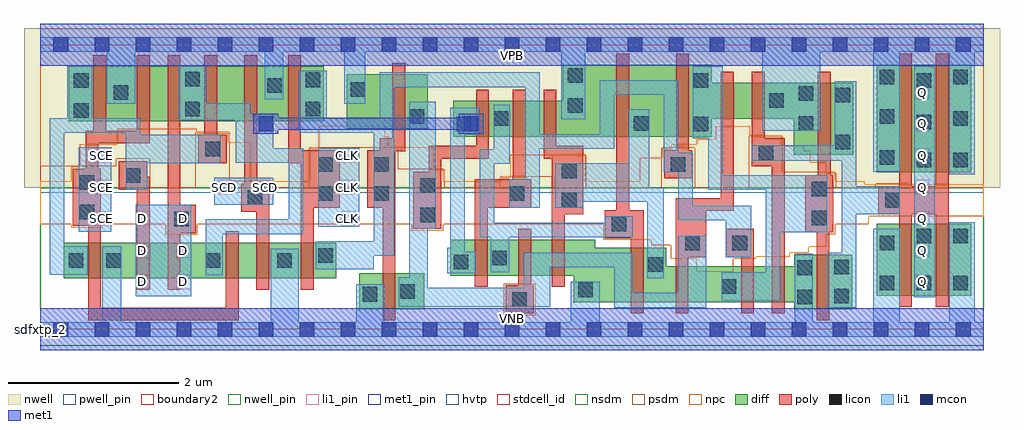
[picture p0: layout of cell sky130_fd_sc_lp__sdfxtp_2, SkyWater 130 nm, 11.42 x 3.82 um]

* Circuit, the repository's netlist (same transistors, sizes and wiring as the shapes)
* Copyright 2020 The SkyWater PDK Authors
*
* Licensed under the Apache License, Version 2.0 (the "License");
* you may not use this file except in compliance with the License.
* You may obtain a copy of the License at
*
*     https://www.apache.org/licenses/LICENSE-2.0
*
* Unless required by applicable law or agreed to in writing, software
* distributed under the License is distributed on an "AS IS" BASIS,
* WITHOUT WARRANTIES OR CONDITIONS OF ANY KIND, either express or implied.
* See the License for the specific language governing permissions and
* limitations under the License.
*
* SPDX-License-Identifier: Apache-2.0

.SUBCKT sky130_fd_sc_lp__sdfxtp_2 CLK D SCD SCE VGND VNB VPB VPWR Q
*.PININFO CLK:I D:I SCD:I SCE:I VGND:I VNB:I VPB:I VPWR:I Q:O
MI652 M1 clkpos S0 VNB sky130_fd_pr__nfet_01v8 m=1 w=0.42U l=0.15U mult=1 sa=0.265
+ sb=0.265 sd=0.28 area=0.063 perim=1.14
MI649 S1 S0 VGND VNB sky130_fd_pr__nfet_01v8 m=1 w=0.64U l=0.15U mult=1 sa=0.265
+ sb=0.265 sd=0.28 area=0.063 perim=1.14
MI634 M1 M0 VGND VNB sky130_fd_pr__nfet_01v8 m=1 w=0.64U l=0.15U mult=1 sa=0.265
+ sb=0.265 sd=0.28 area=0.063 perim=1.14
MI636 clkpos clkneg VGND VNB sky130_fd_pr__nfet_01v8 m=1 w=0.42U l=0.15U mult=1
+ sa=0.265 sb=0.265 sd=0.28 area=0.063 perim=1.14
MI639 sceb SCE VGND VNB sky130_fd_pr__nfet_01v8 m=1 w=0.42U l=0.15U mult=1 sa=0.265
+ sb=0.265 sd=0.28 area=0.063 perim=1.14
MI657 M0 clkpos net155 VNB sky130_fd_pr__nfet_01v8 m=1 w=0.42U l=0.15U mult=1 sa=0.265
+ sb=0.265 sd=0.28 area=0.063 perim=1.14
MI656 net155 M1 VGND VNB sky130_fd_pr__nfet_01v8 m=1 w=0.42U l=0.15U mult=1 sa=0.265
+ sb=0.265 sd=0.28 area=0.063 perim=1.14
MI641 net151 S1 VGND VNB sky130_fd_pr__nfet_01v8 m=1 w=0.42U l=0.15U mult=1 sa=0.265
+ sb=0.265 sd=0.28 area=0.063 perim=1.14
MI646 Q S1 VGND VNB sky130_fd_pr__nfet_01v8 m=2 w=0.84U l=0.15U mult=1 sa=0.265
+ sb=0.265 sd=0.28 area=0.063 perim=1.14
MI648 db clkneg M0 VNB sky130_fd_pr__nfet_01v8 m=1 w=0.42U l=0.15U mult=1 sa=0.265
+ sb=0.265 sd=0.28 area=0.063 perim=1.14
MI635 clkneg CLK VGND VNB sky130_fd_pr__nfet_01v8 m=1 w=0.42U l=0.15U mult=1 sa=0.265
+ sb=0.265 sd=0.28 area=0.063 perim=1.14
MI642 S0 clkneg net151 VNB sky130_fd_pr__nfet_01v8 m=1 w=0.42U l=0.15U mult=1 sa=0.265
+ sb=0.265 sd=0.28 area=0.063 perim=1.14
MI98 db D n0 VNB sky130_fd_pr__nfet_01v8 m=1 w=0.42U l=0.15U mult=1 sa=0.265 sb=0.265
+ sd=0.28 area=0.525 perim=3.1
MI103 n1 SCD VGND VNB sky130_fd_pr__nfet_01v8 m=1 w=0.42U l=0.15U mult=1 sa=0.265
+ sb=0.265 sd=0.28 area=0.525 perim=3.1
MI120 db SCE n1 VNB sky130_fd_pr__nfet_01v8 m=1 w=0.42U l=0.15U mult=1 sa=0.265
+ sb=0.265 sd=0.28 area=0.525 perim=3.1
MI104 n0 sceb VGND VNB sky130_fd_pr__nfet_01v8 m=1 w=0.42U l=0.15U mult=1 sa=0.265
+ sb=0.265 sd=0.28 area=0.525 perim=3.1
MI643 net206 S1 VPWR VPB sky130_fd_pr__pfet_01v8_hvt m=1 w=0.42U l=0.15U mult=1
+ sa=0.265 sb=0.265 sd=0.28 area=0.063 perim=1.14
MI640 sceb SCE VPWR VPB sky130_fd_pr__pfet_01v8_hvt m=1 w=0.64U l=0.15U mult=1
+ sa=0.265 sb=0.265 sd=0.28 area=0.063 perim=1.14
MI658 net243 M1 VPWR VPB sky130_fd_pr__pfet_01v8_hvt m=1 w=0.42U l=0.15U mult=1
+ sa=0.265 sb=0.265 sd=0.28 area=0.063 perim=1.14
MI645 Q S1 VPWR VPB sky130_fd_pr__pfet_01v8_hvt m=2 w=1.26U l=0.15U mult=1 sa=0.265
+ sb=0.265 sd=0.28 area=0.063 perim=1.14
MI651 db clkpos M0 VPB sky130_fd_pr__pfet_01v8_hvt m=1 w=0.42U l=0.15U mult=1 sa=0.265
+ sb=0.265 sd=0.28 area=0.063 perim=1.14
MI653 M1 clkneg S0 VPB sky130_fd_pr__pfet_01v8_hvt m=1 w=0.84U l=0.15U mult=1 sa=0.265
+ sb=0.265 sd=0.28 area=0.063 perim=1.14
MI659 M0 clkneg net243 VPB sky130_fd_pr__pfet_01v8_hvt m=1 w=0.42U l=0.15U mult=1
+ sa=0.265 sb=0.265 sd=0.28 area=0.063 perim=1.14
MI638 clkneg CLK VPWR VPB sky130_fd_pr__pfet_01v8_hvt m=1 w=0.64U l=0.15U mult=1
+ sa=0.265 sb=0.265 sd=0.28 area=0.063 perim=1.14
MI637 clkpos clkneg VPWR VPB sky130_fd_pr__pfet_01v8_hvt m=1 w=0.64U l=0.15U mult=1
+ sa=0.265 sb=0.265 sd=0.28 area=0.063 perim=1.14
MI650 S1 S0 VPWR VPB sky130_fd_pr__pfet_01v8_hvt m=1 w=0.84U l=0.15U mult=1 sa=0.265
+ sb=0.265 sd=0.28 area=0.063 perim=1.14
MI644 S0 clkpos net206 VPB sky130_fd_pr__pfet_01v8_hvt m=1 w=0.42U l=0.15U mult=1
+ sa=0.265 sb=0.265 sd=0.28 area=0.063 perim=1.14
MI664 M1 M0 VPWR VPB sky130_fd_pr__pfet_01v8_hvt m=1 w=0.84U l=0.15U mult=1 sa=0.265
+ sb=0.265 sd=0.28 area=0.063 perim=1.14
MI107 p0 SCE VPWR VPB sky130_fd_pr__pfet_01v8_hvt m=1 w=0.64U l=0.15U mult=1 sa=0.265
+ sb=0.265 sd=0.28 area=0.063 perim=1.14
MI94 db D p0 VPB sky130_fd_pr__pfet_01v8_hvt m=1 w=0.64U l=0.15U mult=1 sa=0.265
+ sb=0.265 sd=0.28 area=0.063 perim=1.14
MI108 p1 SCD VPWR VPB sky130_fd_pr__pfet_01v8_hvt m=1 w=0.64U l=0.15U mult=1 sa=0.265
+ sb=0.265 sd=0.28 area=0.063 perim=1.14
MI101 db sceb p1 VPB sky130_fd_pr__pfet_01v8_hvt m=1 w=0.64U l=0.15U mult=1 sa=0.265
+ sb=0.265 sd=0.28 area=0.063 perim=1.14
.ENDS sky130_fd_sc_lp__sdfxtp_2

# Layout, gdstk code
import gdstk
lib = gdstk.Library(unit=1e-6, precision=1e-09)
def R(c, l, rs):  # rectangles x0, y0, x1, y1
    for r in rs: c.add(gdstk.rectangle(r[:2], r[2:], *l))
def A(c, l, x, y, w, h, nx, ny, dx, dy):  # array of equal rectangles
    R(c, l, [(x+i*dx, y+j*dy, x+i*dx+w, y+j*dy+h) for i in range(nx) for j in range(ny)])
def P(c, l, *ps):  # polygons
    for p in ps: c.add(gdstk.Polygon(p, *l))
nwell_pin = (64, 16)
nwell = (64, 20)
diff = (65, 20)
poly = (66, 20)
licon = (66, 44)
li1_pin = (67, 16)
li1 = (67, 20)
mcon = (67, 44)
met1_pin = (68, 16)
met1 = (68, 20)
hvtp = (78, 44)
stdcell_id = (81, 4)
nsdm = (93, 44)
psdm = (94, 20)
npc = (95, 20)
pwell_pin = (122, 16)
boundary2 = (236, 0)

sky130_fd_sc_lp__sdfxtp_ = lib.new_cell('sky130_fd_sc_lp__sdfxtp_2')
R(sky130_fd_sc_lp__sdfxtp_, nwell_pin, [(0,3.085,11.04,3.33)])
R(sky130_fd_sc_lp__sdfxtp_, nwell, [(-0.19,1.655,11.23,3.52)])
R(sky130_fd_sc_lp__sdfxtp_, diff, [(3.735,0.235,4.495,0.655), (9.785,0.395,10.895,1.235), (0.275,0.595,3.465,1.015), (9.785,1.835,10.895,3.095), (3.585,2.345,4.535,2.985), (0.335,2.435,3.315,3.075)])
P(sky130_fd_sc_lp__sdfxtp_, diff, [(9.5,0.875),(8.82,0.875),(8.82,0.735),(7.325,0.735),(7.325,0.955),(6.495,0.955),(6.495,1.045),(4.8,1.045),(4.8,0.625),(6.245,0.625),(6.245,0.315),(8.82,0.315),(8.82,0.235),(9.5,0.235)],
  [(9.515,2.885),(7.855,2.885),(7.855,3.095),(6.115,3.095),(6.115,2.675),(4.835,2.675),(4.835,2.255),(7.855,2.255),(7.855,2.465),(8.815,2.465),(8.815,2.045),(9.515,2.045)])
P(sky130_fd_sc_lp__sdfxtp_, poly, [(1.28,1.785),(1.25,1.785),(1.25,1.965),(0.92,1.965),(0.92,1.635),(1.13,1.635),(1.13,0.465),(1.28,0.465)],
  [(1.82,1.455),(1.64,1.455),(1.64,3.205),(1.49,3.205),(1.49,0.465),(1.64,0.465),(1.64,1.125),(1.82,1.125)],
  [(2.18,2.275),(2.07,2.275),(2.07,3.205),(1.92,3.205),(1.92,2.275),(1.85,2.275),(1.85,1.945),(2.18,1.945)],
  [(2.32,1.145),(2.17,1.145),(2.17,0.255),(0.71,0.255),(0.71,1.88),(0.68,1.88),(0.68,2.175),(1.28,2.175),(1.28,3.205),(1.13,3.205),(1.13,2.325),(0.77,2.325),(0.77,3.205),(0.62,3.205),(0.62,2.325),(0.53,2.325),(0.53,1.88),(0.38,1.88),(0.38,1.21),(0.56,1.21),(0.56,0.105),(2.32,0.105)],
  [(2.68,1.705),(2.54,1.705),(2.54,3.205),(2.39,3.205),(2.39,1.705),(2.35,1.705),(2.35,1.375),(2.53,1.375),(2.53,0.465),(2.68,0.465)],
  [(3.505,2.095),(3.05,2.095),(3.05,3.205),(2.9,3.205),(2.9,1.945),(3.05,1.945),(3.05,0.465),(3.2,0.465),(3.2,1.425),(3.505,1.425)],
  [(4.27,3.115),(4.12,3.115),(4.12,2.235),(3.975,2.235),(3.975,2.095),(3.825,2.095),(3.825,1.425),(4.005,1.425),(4.005,0.105),(4.155,0.105),(4.155,2.085),(4.27,2.085)],
  [(5.25,2.805),(5.1,2.805),(5.1,2.145),(4.545,2.145),(4.545,1.845),(4.365,1.845),(4.365,1.175),(4.695,1.175),(4.695,1.995),(5.25,1.995)],
  [(5.745,1.755),(5.68,1.755),(5.68,2.805),(5.53,2.805),(5.53,1.755),(5.085,1.755),(5.085,0.495),(5.235,0.495),(5.235,1.425),(5.745,1.425)],
  [(5.775,0.515),(5.745,0.515),(5.745,1.175),(5.595,1.175),(5.595,0.515),(5.445,0.515),(5.445,0.185),(5.775,0.185)],
  [(6.355,2.145),(6.04,2.145),(6.04,2.805),(5.89,2.805),(5.89,1.995),(5.985,1.995),(5.985,0.495),(6.135,0.495),(6.135,1.345),(6.355,1.345)],
  [(7.06,1.395),(6.89,1.395),(6.89,3.225),(6.74,3.225),(6.74,1.395),(6.605,1.395),(6.605,1.065),(6.91,1.065),(6.91,0.185),(7.06,0.185)],
  [(7.63,2.095),(7.59,2.095),(7.59,3.225),(7.44,3.225),(7.44,2.095),(7.3,2.095),(7.3,1.765),(7.63,1.765)],
  [(8.115,3.015),(7.965,3.015),(7.965,1.535),(7.435,1.535),(7.435,0.185),(7.585,0.185),(7.585,0.845),(7.795,0.845),(7.795,1.385),(8.115,1.385)],
  [(8.35,1.175),(8.02,1.175),(8.02,0.845),(8.2,0.845),(8.2,0.185),(8.35,0.185)],
  [(8.71,2.235),(8.475,2.235),(8.475,3.015),(8.325,3.015),(8.325,1.905),(8.56,1.905),(8.56,0.185),(8.71,0.185)],
  [(9.28,1.805),(9.25,1.805),(9.25,3.015),(9.1,3.015),(9.1,1.805),(8.95,1.805),(8.95,1.135),(9.085,1.135),(9.085,0.105),(9.235,0.105),(9.235,1.135),(9.28,1.135)],
  [(10.63,3.225),(10.48,3.225),(10.48,1.675),(10.2,1.675),(10.2,3.225),(10.05,3.225),(10.05,1.675),(9.805,1.675),(9.805,1.345),(10.05,1.345),(10.05,0.265),(10.2,0.265),(10.2,1.345),(10.48,1.345),(10.48,0.265),(10.63,0.265)])
A(sky130_fd_sc_lp__sdfxtp_, licon, 9.825, 0.455, 0.17, 0.17, 3, 1, 0.43, 0)
A(sky130_fd_sc_lp__sdfxtp_, licon, 10.685, 1.895, 0.17, 0.17, 1, 3, 0, 0.485)
R(sky130_fd_sc_lp__sdfxtp_, licon, [(5.525,0.265,5.695,0.435), (8.86,0.295,9.03,0.465), (9.29,0.305,9.46,0.475), (3.775,0.325,3.945,0.495), (4.21,0.36,4.38,0.53), (6.295,0.375,6.465,0.545), (7.975,0.415,8.145,0.585), (8.86,0.635,9.03,0.805), (9.29,0.645,9.46,0.815), (7.115,0.675,7.285,0.845), (4.84,0.705,5.01,0.875), (0.335,0.72,0.505,0.89), (0.775,0.72,0.945,0.89), (1.935,0.72,2.105,0.89), (2.775,0.72,2.945,0.89), (5.29,0.75,5.46,0.92), (3.255,0.78,3.425,0.95), (7.545,0.925,7.715,1.095), (8.1,0.925,8.27,1.095), (9.825,0.925,9.995,1.095), (10.255,1.005,10.425,1.175), (10.685,1.005,10.855,1.175), (6.685,1.145,6.855,1.315), (1.57,1.205,1.74,1.375), (9.03,1.215,9.2,1.385), (4.445,1.255,4.615,1.425), (0.46,1.29,0.63,1.46), (6.105,1.425,6.275,1.595), (9.885,1.425,10.055,1.595), (2.43,1.455,2.6,1.625), (3.255,1.505,3.425,1.675), (3.905,1.505,4.075,1.675), (5.495,1.505,5.665,1.675), (9.03,1.555,9.2,1.725), (4.445,1.595,4.615,1.765), (0.46,1.63,0.63,1.8), (1,1.715,1.17,1.885), (6.105,1.765,6.275,1.935), (3.255,1.845,3.425,2.015), (3.905,1.845,4.075,2.015), (7.38,1.845,7.55,2.015), (10.255,1.895,10.425,2.065), (9.825,1.925,9.995,2.095), (8.405,1.985,8.575,2.155), (1.93,2.025,2.1,2.195), (9.305,2.105,9.475,2.275), (4.875,2.315,5.045,2.485), (7.645,2.315,7.815,2.485), (6.945,2.325,7.115,2.495), (8.875,2.325,9.045,2.495), (10.255,2.34,10.425,2.51), (5.305,2.38,5.475,2.55), (4.325,2.405,4.495,2.575), (9.825,2.405,9.995,2.575), (0.395,2.475,0.565,2.645), (1.695,2.495,1.865,2.665), (3.105,2.495,3.275,2.665), (6.175,2.535,6.345,2.705), (8.53,2.59,8.7,2.76), (9.305,2.655,9.475,2.825), (8.875,2.675,9.045,2.845), (0.86,2.685,1.03,2.855), (3.635,2.72,3.805,2.89), (2.655,2.77,2.825,2.94), (0.395,2.825,0.565,2.995), (7.645,2.825,7.815,2.995), (10.255,2.825,10.425,2.995), (3.105,2.835,3.275,3.005), (1.695,2.845,1.865,3.015), (9.825,2.865,9.995,3.035), (6.175,2.885,6.345,3.055)])
A(sky130_fd_sc_lp__sdfxtp_, li1_pin, 10.235, 0.47, 0.17, 0.17, 1, 7, 0, 0.37)
A(sky130_fd_sc_lp__sdfxtp_, li1_pin, 0.635, 1.21, 0.17, 0.17, 3, 1, 0.48, 0)
A(sky130_fd_sc_lp__sdfxtp_, li1_pin, 3.515, 1.21, 0.17, 0.17, 1, 3, 0, 0.37)
R(sky130_fd_sc_lp__sdfxtp_, li1_pin, [(1.115,0.47,1.285,0.64), (1.595,0.47,1.765,0.64), (1.115,0.84,1.285,1.01), (1.595,0.84,1.765,1.01), (0.635,1.58,0.805,1.75), (2.075,1.58,2.245,1.75), (2.555,1.58,2.725,1.75), (0.635,1.95,0.805,2.12)])
R(sky130_fd_sc_lp__sdfxtp_, li1, [(10.225,0.375,10.465,3.075), (1.115,0.385,1.765,1.455), (0.45,1.14,0.83,2.13), (3.255,1.2,3.735,2.12), (2.035,1.455,2.725,1.775)])
P(sky130_fd_sc_lp__sdfxtp_, li1, [(5.845,2.285),(6.545,2.285),(6.545,2.915),(7.465,2.915),(7.465,2.065),(7.635,2.065),(7.635,1.445),(8.32,1.445),(8.32,0.845),(8.02,0.845),(8.02,1.275),(7.465,1.275),(7.465,1.835),(7.295,1.835),(7.295,2.745),(6.715,2.745),(6.715,2.115),(5.845,2.115),(5.845,1.425),(5.485,1.425),(5.485,1.755),(5.675,1.755),(5.675,2.835),(4.145,2.835),(4.145,0.86),(3.905,0.86),(3.905,0.7),(3.225,0.7),(3.225,1.03),(3.905,1.03),(3.905,2.3),(3.025,2.3),(3.025,3.025),(3.355,3.025),(3.355,2.47),(3.975,2.47),(3.975,3.005),(5.845,3.005)],
  [(1.17,2.275),(2.115,2.275),(2.115,1.945),(1.25,1.945),(1.25,1.635),(1,1.635),(1,2.3),(0.28,2.3),(0.28,0.97),(0.555,0.97),(0.555,0.64),(0.11,0.64),(0.11,2.47),(0.315,2.47),(0.315,3.075),(0.61,3.075),(0.61,2.47),(1.17,2.47)],
  [(6.095,2.455),(6.095,3.245),(3.805,3.245),(3.805,2.64),(3.555,2.64),(3.555,3.245),(2.845,3.245),(2.845,2.69),(2.625,2.69),(2.625,3.245),(1.11,3.245),(1.11,2.64),(0.78,2.64),(0.78,3.245),(0,3.245),(0,3.415),(11.04,3.415),(11.04,3.245),(10.935,3.245),(10.935,1.815),(10.635,1.815),(10.635,3.245),(10.055,3.245),(10.055,1.845),(9.745,1.845),(9.745,3.245),(9.125,3.245),(9.125,2.325),(8.45,2.325),(8.45,3.245),(6.375,3.245),(6.375,2.455)],
  [(6.205,0.085),(6.205,0.555),(6.545,0.555),(6.545,0.085),(8.83,0.085),(8.83,0.885),(9.04,0.885),(9.04,0.085),(9.745,0.085),(9.745,1.175),(10.055,1.175),(10.055,0.085),(10.635,0.085),(10.635,1.255),(10.935,1.255),(10.935,0.085),(11.04,0.085),(11.04,-0.085),(0,-0.085),(0,0.085),(0.725,0.085),(0.725,0.97),(0.945,0.97),(0.945,0.085),(2.695,0.085),(2.695,0.945),(3.025,0.945),(3.025,0.085),(3.695,0.085),(3.695,0.53),(4.025,0.53),(4.025,0.085)],
  [(1.945,2.645),(2.455,2.645),(2.455,2.52),(2.725,2.52),(2.725,2.12),(3.075,2.12),(3.075,1.115),(2.135,1.115),(2.135,0.635),(1.935,0.635),(1.935,1.285),(2.905,1.285),(2.905,1.95),(2.285,1.95),(2.285,2.445),(1.615,2.445),(1.615,3.075),(1.945,3.075)],
  [(4.795,2.59),(5.135,2.59),(5.135,2.275),(4.965,2.275),(4.965,0.905),(5.09,0.905),(5.09,0.655),(4.76,0.655),(4.76,0.955),(4.795,0.955)],
  [(9.55,1.675),(10.055,1.675),(10.055,1.345),(9.55,1.345),(9.55,0.255),(9.21,0.255),(9.21,0.895),(9.38,0.895),(9.38,1.975),(8.325,1.975),(8.325,2.155),(9.295,2.155),(9.295,2.905),(9.55,2.905)],
  [(7.815,2.235),(7.635,2.235),(7.635,3.075),(7.985,3.075),(7.985,1.805),(9.21,1.805),(9.21,1.135),(8.66,1.135),(8.66,0.335),(7.975,0.335),(7.975,0.665),(8.49,0.665),(8.49,1.635),(7.815,1.635)],
  [(6.885,1.945),(6.885,2.575),(7.125,2.575),(7.125,1.665),(7.295,1.665),(7.295,0.595),(7.105,0.595),(7.105,1.495),(6.355,1.495),(6.355,1.425),(6.025,1.425),(6.025,1.945)],
  [(5.305,2.105),(5.305,2.63),(5.495,2.63),(5.495,1.935),(5.315,1.935),(5.315,1.245),(6.605,1.245),(6.605,1.325),(6.935,1.325),(6.935,1.075),(5.49,1.075),(5.49,0.67),(5.27,0.67),(5.27,1.075),(5.145,1.075),(5.145,2.105)],
  [(4.625,1.175),(4.535,1.175),(4.535,0.485),(5.66,0.485),(5.66,0.895),(6.935,0.895),(6.935,0.425),(7.465,0.425),(7.465,1.095),(7.795,1.095),(7.795,0.255),(6.715,0.255),(6.715,0.725),(5.965,0.725),(5.965,0.265),(4.195,0.265),(4.195,0.61),(4.315,0.61),(4.315,2.665),(4.625,2.665)])
A(sky130_fd_sc_lp__sdfxtp_, mcon, 0.155, -0.085, 0.17, 0.17, 23, 2, 0.48, 3.33)
R(sky130_fd_sc_lp__sdfxtp_, mcon, [(2.555,2.32,2.725,2.49), (4.955,2.32,5.125,2.49)])
R(sky130_fd_sc_lp__sdfxtp_, met1_pin, [(0,0,11.04,0.245), (0,3.085,11.04,3.33)])
R(sky130_fd_sc_lp__sdfxtp_, met1, [(0,-0.245,11.04,0.245), (0,3.085,11.04,3.575)])
P(sky130_fd_sc_lp__sdfxtp_, met1, [(2.785,2.475),(4.895,2.475),(4.895,2.52),(5.185,2.52),(5.185,2.29),(4.895,2.29),(4.895,2.335),(2.785,2.335),(2.785,2.29),(2.495,2.29),(2.495,2.52),(2.785,2.52)])
R(sky130_fd_sc_lp__sdfxtp_, hvtp, [(0,1.6,11.04,3.33)])
R(sky130_fd_sc_lp__sdfxtp_, stdcell_id, [(0,0,11.04,3.33)])
R(sky130_fd_sc_lp__sdfxtp_, nsdm, [(0,-0.19,11.04,1.655)])
P(sky130_fd_sc_lp__sdfxtp_, psdm, [(11.04,3.52),(0,3.52),(0,1.91),(0.89,1.91),(0.89,1.995),(1.28,1.995),(1.28,1.655),(1.82,1.655),(1.82,2.305),(2.21,2.305),(2.21,1.735),(2.71,1.735),(2.71,1.655),(3.145,1.655),(3.145,2.125),(4.185,2.125),(4.185,1.875),(4.725,1.875),(4.725,1.655),(5.385,1.655),(5.385,1.785),(5.995,1.785),(5.995,2.045),(6.385,2.045),(6.385,1.655),(7.27,1.655),(7.27,2.125),(7.66,2.125),(7.66,1.655),(8.295,1.655),(8.295,2.265),(8.685,2.265),(8.685,1.835),(9.31,1.835),(9.31,1.655),(9.775,1.655),(9.775,1.705),(10.165,1.705),(10.165,1.655),(11.04,1.655)])
R(sky130_fd_sc_lp__sdfxtp_, npc, [(5.425,0.165,5.795,0.535)])
P(sky130_fd_sc_lp__sdfxtp_, npc, [(11.04,1.695),(9.645,1.695),(9.645,1.73),(9.3,1.73),(9.3,1.825),(9.195,1.825),(9.195,1.955),(9.01,1.955),(9.01,2.09),(8.94,2.09),(8.94,2.15),(8.675,2.15),(8.675,2.255),(8.305,2.255),(8.305,2.375),(7.905,2.375),(7.905,2.225),(7.68,2.225),(7.68,2.165),(7.385,2.165),(7.385,2.115),(7.28,2.115),(7.28,2.01),(7.015,2.01),(7.015,1.73),(6.375,1.73),(6.375,2.035),(6.27,2.035),(6.27,2.04),(5.5,2.04),(5.5,1.775),(5.395,1.775),(5.395,1.73),(4.715,1.73),(4.715,1.865),(4.61,1.865),(4.61,2.13),(4.07,2.13),(4.07,2.255),(4.03,2.255),(4.03,2.38),(3.26,2.38),(3.26,2.115),(3.155,2.115),(3.155,1.73),(2.465,1.73),(2.465,2.19),(2.2,2.19),(2.2,2.295),(1.83,2.295),(1.83,2.345),(0.9,2.345),(0.9,2.165),(0.465,2.165),(0.465,1.9),(0.36,1.9),(0.36,1.73),(0,1.73),(0,1.23),(0.36,1.23),(0.36,1.19),(0.73,1.19),(0.73,1.23),(1.47,1.23),(1.47,1.105),(1.84,1.105),(1.84,1.23),(4.345,1.23),(4.345,1.155),(4.715,1.155),(4.715,1.23),(6.585,1.23),(6.585,1.045),(7.15,1.045),(7.15,0.985),(7.375,0.985),(7.375,0.825),(7.675,0.825),(7.675,0.675),(8.11,0.675),(8.11,0.825),(8.37,0.825),(8.37,0.85),(8.77,0.85),(8.77,0.895),(8.995,0.895),(8.995,0.965),(9.195,0.965),(9.195,1.115),(9.3,1.115),(9.3,1.23),(9.695,1.23),(9.695,1.325),(11.04,1.325)])
R(sky130_fd_sc_lp__sdfxtp_, pwell_pin, [(0,0,11.04,0.245)])
R(sky130_fd_sc_lp__sdfxtp_, boundary2, [(0,0,11.04,3.33)])
sky130_fd_sc_lp__sdfxtp_.add(gdstk.Label('VNB', (5.52,0.123), layer=64, texttype=59))
sky130_fd_sc_lp__sdfxtp_.add(gdstk.Label('VPB', (5.52,3.208), layer=64, texttype=5))
sky130_fd_sc_lp__sdfxtp_.add(gdstk.Label('sdfxtp_2', (0,0), layer=83, texttype=44))
sky130_fd_sc_lp__sdfxtp_.add(gdstk.Label('VPWR', (5.52,3.208), layer=68, texttype=5))
sky130_fd_sc_lp__sdfxtp_.add(gdstk.Label('VGND', (5.52,0.123), layer=68, texttype=5))
sky130_fd_sc_lp__sdfxtp_.add(gdstk.Label('CLK', (3.6,1.295), layer=67, texttype=5))
sky130_fd_sc_lp__sdfxtp_.add(gdstk.Label('CLK', (3.6,1.665), layer=67, texttype=5))
sky130_fd_sc_lp__sdfxtp_.add(gdstk.Label('CLK', (3.6,2.035), layer=67, texttype=5))
sky130_fd_sc_lp__sdfxtp_.add(gdstk.Label('SCE', (0.72,1.295), layer=67, texttype=5))
sky130_fd_sc_lp__sdfxtp_.add(gdstk.Label('SCE', (0.72,1.665), layer=67, texttype=5))
sky130_fd_sc_lp__sdfxtp_.add(gdstk.Label('SCE', (0.72,2.035), layer=67, texttype=5))
sky130_fd_sc_lp__sdfxtp_.add(gdstk.Label('SCD', (2.16,1.665), layer=67, texttype=5))
sky130_fd_sc_lp__sdfxtp_.add(gdstk.Label('SCD', (2.64,1.665), layer=67, texttype=5))
sky130_fd_sc_lp__sdfxtp_.add(gdstk.Label('D', (1.2,0.555), layer=67, texttype=5))
sky130_fd_sc_lp__sdfxtp_.add(gdstk.Label('D', (1.2,0.925), layer=67, texttype=5))
sky130_fd_sc_lp__sdfxtp_.add(gdstk.Label('D', (1.2,1.295), layer=67, texttype=5))
sky130_fd_sc_lp__sdfxtp_.add(gdstk.Label('D', (1.68,0.555), layer=67, texttype=5))
sky130_fd_sc_lp__sdfxtp_.add(gdstk.Label('D', (1.68,0.925), layer=67, texttype=5))
sky130_fd_sc_lp__sdfxtp_.add(gdstk.Label('D', (1.68,1.295), layer=67, texttype=5))
sky130_fd_sc_lp__sdfxtp_.add(gdstk.Label('Q', (10.32,0.555), layer=67, texttype=5))
sky130_fd_sc_lp__sdfxtp_.add(gdstk.Label('Q', (10.32,0.925), layer=67, texttype=5))
sky130_fd_sc_lp__sdfxtp_.add(gdstk.Label('Q', (10.32,1.295), layer=67, texttype=5))
sky130_fd_sc_lp__sdfxtp_.add(gdstk.Label('Q', (10.32,1.665), layer=67, texttype=5))
sky130_fd_sc_lp__sdfxtp_.add(gdstk.Label('Q', (10.32,2.035), layer=67, texttype=5))
sky130_fd_sc_lp__sdfxtp_.add(gdstk.Label('Q', (10.32,2.405), layer=67, texttype=5))
sky130_fd_sc_lp__sdfxtp_.add(gdstk.Label('Q', (10.32,2.775), layer=67, texttype=5))

lib.write_gds('sky130_fd_sc_lp__sdfxtp_2.gds')
